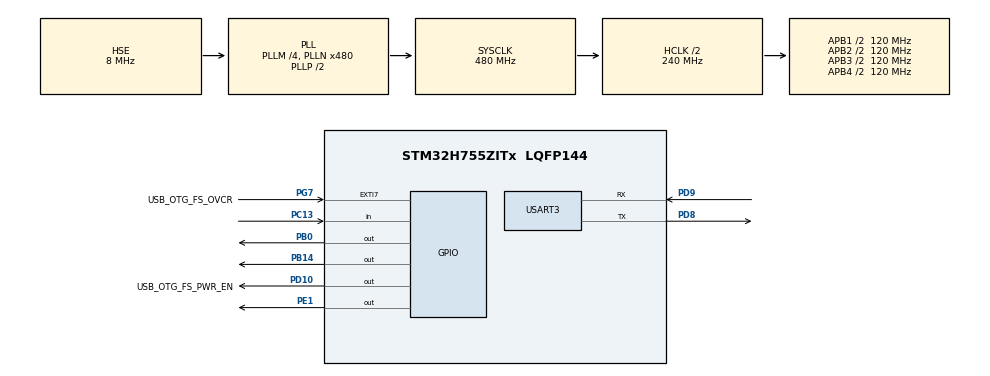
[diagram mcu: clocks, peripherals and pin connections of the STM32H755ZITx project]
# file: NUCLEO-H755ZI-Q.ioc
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CORTEX_M7.CPU_DCache=Enabled
CORTEX_M7.CPU_ICache=Enabled
CortexM4.IPs=FATFS_M4\:I,FREERTOS_M4\:I,IWDG2\:I,RCC,WWDG2\:I,DMA,BDMA,MDMA,NVIC2\:I,ETH,USART3,DEBUG,PDM2PCM_M4\:I,PWR,RESMGR_UTILITY,SYS_M4\:I,USB_DEVICE_M4\:I,USB_HOST_M4\:I,CORTEX_M4\:I,GPIO,OPENAMP_M4\:I,VREFBUF,NUCLEO-H755ZI-Q
CortexM7.IPs=FATFS_M7\:I,FREERTOS_M7\:I,IWDG1\:I,RCC\:I,WWDG1\:I,DMA\:I,BDMA\:I,MDMA\:I,NVIC1\:I,ETH\:I,USART3\:I,USB_OTG_FS\:I,SYS\:I,CORTEX_M7\:I,DEBUG\:I,PDM2PCM_M7\:I,PWR\:I,RESMGR_UTILITY\:I,USB_DEVICE_M7\:I,USB_HOST_M7\:I,GPIO\:I,OPENAMP_M7\:I,VREFBUF\:I,NUCLEO-H755ZI-Q\:I,STMicroelectronics.X-CUBE-AI.10.2.0_M7\:I,TIM16\:I
Mcu.Family=STM32H7
Mcu.Name=STM32H755ZITx
Mcu.Package=LQFP144
NVIC1.PriorityGroup=NVIC_PRIORITYGROUP_4
NVIC2.PriorityGroup=NVIC_PRIORITYGROUP_4
PA1.PinAttribute=CortexM7
PA1.Signal=ETH_REF_CLK
PA11.PinAttribute=CortexM7
PA11.Signal=USB_OTG_FS_DM
PA12.PinAttribute=CortexM7
PA12.Signal=USB_OTG_FS_DP
PA2.PinAttribute=CortexM7
PA2.Signal=ETH_MDIO
PA7.PinAttribute=CortexM7
PA7.Signal=ETH_CRS_DV
PA8.PinAttribute=CortexM7
PA8.Signal=USB_OTG_FS_SOF
PA9.PinAttribute=CortexM7
PA9.Signal=USB_OTG_FS_VBUS
PB0.PinAttribute=Free
PB0.Signal=GPIO_Output
PB13.PinAttribute=CortexM7
PB13.Signal=ETH_TXD1
PB14.PinAttribute=Free
PB14.Signal=GPIO_Output
PC1.PinAttribute=CortexM7
PC1.Signal=ETH_MDC
PC13.PinAttribute=Free
PC13.Signal=GPIO_Input
PC14-OSC32_IN\ (OSC32_IN).PinAttribute=Free
PC14-OSC32_IN\ (OSC32_IN).Signal=RCC_OSC32_IN
PC15-OSC32_OUT\ (OSC32_OUT).PinAttribute=Free
PC15-OSC32_OUT\ (OSC32_OUT).Signal=RCC_OSC32_OUT
PC4.PinAttribute=CortexM7
PC4.Signal=ETH_RXD0
PC5.PinAttribute=CortexM7
PC5.Signal=ETH_RXD1
PD10.GPIO_Label=USB_OTG_FS_PWR_EN
PD10.PinAttribute=Free
PD10.Signal=GPIO_Output
PD8.Mode=Asynchronous
PD8.PinAttribute=CortexM7
PD8.Signal=USART3_TX
PD9.GPIO_PuPd=GPIO_PULLUP
PD9.Mode=Asynchronous
PD9.PinAttribute=CortexM7
PD9.Signal=USART3_RX
PE1.PinAttribute=Free
PE1.Signal=GPIO_Output
PG11.PinAttribute=CortexM7
PG11.Signal=ETH_TX_EN
PG13.PinAttribute=CortexM7
PG13.Signal=ETH_TXD0
PG7.GPIO_Label=USB_OTG_FS_OVCR
PG7.PinAttribute=Free
PG7.Signal=GPXTI7
PH0-OSC_IN\ (PH0).Mode=HSE-External-Clock-Source
PH0-OSC_IN\ (PH0).PinAttribute=Free
PH0-OSC_IN\ (PH0).Signal=RCC_OSC_IN
PH1-OSC_OUT\ (PH1).PinAttribute=Free
PH1-OSC_OUT\ (PH1).Signal=RCC_OSC_OUT
ProjectManager.HeapSize=M4-0x200,M7-0x800
ProjectManager.StackSize=M4-0x400,M7-0x800
ProjectManager.TargetToolchain=STM32CubeIDE
RCC.ADCFreq_Value=16125000
RCC.APB1CLKDivider=RCC_HCLK_DIV4
RCC.APB1Freq_Value=120000000
RCC.APB2CLKDivider=RCC_HCLK_DIV2
RCC.APB2Freq_Value=120000000
RCC.APB3Freq_Value=120000000
RCC.APB4Freq_Value=120000000
RCC.CortexFreq_Value=480000000
RCC.D1PPRE=RCC_APB3_DIV2
RCC.D2PPRE1=RCC_APB1_DIV2
RCC.D2PPRE2=RCC_APB2_DIV2
RCC.D3PPRE=RCC_APB4_DIV2
RCC.DIVM1=4
RCC.DIVM3=4
RCC.DIVN1=480
RCC.DIVN3=480
RCC.DIVQ1=20
RCC.DIVQ3=8
RCC.FLatency=FLASH_LATENCY_4
RCC.HCLKFreq_Value=240000000
RCC.HPRE=RCC_HCLK_DIV2
RCC.HSE_VALUE=8000000
RCC.PLL2FRACN=0
RCC.PLL3FRACN=0
RCC.PLLFRACN=0
RCC.PLLM=25
RCC.PLLMUL=RCC_PLL_MUL9
RCC.PLLN=432
RCC.PLLQ=9
RCC.PLLSourceVirtual=RCC_PLLSOURCE_HSE
RCC.PRESCALERUSB=RCC_USBCLKSOURCE_PLL_DIV1_5
RCC.PWR_Regulator_Voltage_Scale=PWR_REGULATOR_VOLTAGE_SCALE0
RCC.SYSCLKFreq_VALUE=480000000
RCC.SYSCLKSource=RCC_SYSCLKSOURCE_PLLCLK
RCC.SYSCLKSourceVirtual=RCC_SYSCLKSOURCE_PLLCLK
RCC.USBFreq_Value=48000000
STMicroelectronics.X-CUBE-AI.10.2.0_M7.ActivationBufferSizeList=6008
STMicroelectronics.X-CUBE-AI.10.2.0_M7.ActivationBuffers=(ai_handle) 0x20000000
STMicroelectronics.X-CUBE-AI.10.2.0_M7.ActivationPragmas=AI_DTCMRAM
STMicroelectronics.X-CUBE-AI.10.2.0_M7.ApplicationCcDeviceJjApplication=SystemPerformance
STMicroelectronics.X-CUBE-AI.10.2.0_M7.BSP.number=1
STMicroelectronics.X-CUBE-AI.10.2.0_M7.HeapSize=0x800
STMicroelectronics.X-CUBE-AI.10.2.0_M7.InternalRamActivationBufferMaxSize=AI_SINE_MODEL_DATA_ACTIVATIONS_SIZE
STMicroelectronics.X-CUBE-AI.10.2.0_M7.LatestDirectoryUsed-3aca56d5d3dcc620b772663d52efb366092c688ae6d22954f454590b10111fd2=/Users/vigneshn/ECG_MODELS/Ecg_keras/ecg keras model
STMicroelectronics.X-CUBE-AI.10.2.0_M7.MaximumNumberOfInputLayer=1
STMicroelectronics.X-CUBE-AI.10.2.0_M7.MaximumNumberOfOutputLayer=1
STMicroelectronics.X-CUBE-AI.10.2.0_M7.MaximumSizeOfInputLayer=AI_SINE_MODEL_IN_1_SIZE_BYTES
STMicroelectronics.X-CUBE-AI.10.2.0_M7.MaximumSizeOfOutputLayer=AI_SINE_MODEL_OUT_1_SIZE_BYTES
STMicroelectronics.X-CUBE-AI.10.2.0_M7.ModelActualCompression-3aca56d5d3dcc620b772663d52efb366092c688ae6d22954f454590b10111fd2=0.0
STMicroelectronics.X-CUBE-AI.10.2.0_M7.ModelCompression-3aca56d5d3dcc620b772663d52efb366092c688ae6d22954f454590b10111fd2=None
STMicroelectronics.X-CUBE-AI.10.2.0_M7.ModelFlashOccupation-3aca56d5d3dcc620b772663d52efb366092c688ae6d22954f454590b10111fd2=20268
STMicroelectronics.X-CUBE-AI.10.2.0_M7.ModelHashList=3aca56d5d3dcc620b772663d52efb366092c688ae6d22954f454590b10111fd2
STMicroelectronics.X-CUBE-AI.10.2.0_M7.ModelKind-3aca56d5d3dcc620b772663d52efb366092c688ae6d22954f454590b10111fd2=KERAS
STMicroelectronics.X-CUBE-AI.10.2.0_M7.ModelMacc-3aca56d5d3dcc620b772663d52efb366092c688ae6d22954f454590b10111fd2=46824
STMicroelectronics.X-CUBE-AI.10.2.0_M7.ModelName-3aca56d5d3dcc620b772663d52efb366092c688ae6d22954f454590b10111fd2=sine_model
STMicroelectronics.X-CUBE-AI.10.2.0_M7.ModelNameList=sine_model
STMicroelectronics.X-CUBE-AI.10.2.0_M7.ModelRamOccupation-3aca56d5d3dcc620b772663d52efb366092c688ae6d22954f454590b10111fd2=6008
STMicroelectronics.X-CUBE-AI.10.2.0_M7.ModelStructureFile-3aca56d5d3dcc620b772663d52efb366092c688ae6d22954f454590b10111fd2=/Users/vigneshn/ECG_MODELS/Ecg_keras/ecg keras model/ecg_tiny_model.keras
STMicroelectronics.X-CUBE-AI.10.2.0_M7.ModelType-3aca56d5d3dcc620b772663d52efb366092c688ae6d22954f454590b10111fd2=STM32Cube.AI MCU runtime
STMicroelectronics.X-CUBE-AI.10.2.0_M7.ReadyForCodeGeneration=true
STMicroelectronics.X-CUBE-AI.10.2.0_M7.StackSize=0x800
STMicroelectronics.X-CUBE-AI.10.2.0_M7.WorkingBufferStartAddrList=0xFFFFFFFF
STMicroelectronics.X-CUBE-AI.10.2.0_M7.XAaCUBEAaAICcArtificialOoIntelligenceJjCore=true
STMicroelectronics.X-CUBE-AI.10.2.0_M7.copyWeightToRam=false
STMicroelectronics.X-CUBE-AI.10.2.0_M7.copyWeightToRam-3aca56d5d3dcc620b772663d52efb366092c688ae6d22954f454590b10111fd2=false
STMicroelectronics.X-CUBE-AI.10.2.0_M7.customLayerConfigEnabled=false
STMicroelectronics.X-CUBE-AI.10.2.0_M7.customLayerConfigEnabled-3aca56d5d3dcc620b772663d52efb366092c688ae6d22954f454590b10111fd2=false
STMicroelectronics.X-CUBE-AI.10.2.0_M7.memoryPool0driver-3aca56d5d3dcc620b772663d52efb366092c688ae6d22954f454590b10111fd2=DTCMRAM
STMicroelectronics.X-CUBE-AI.10.2.0_M7.memoryPool0id-3aca56d5d3dcc620b772663d52efb366092c688ae6d22954f454590b10111fd2=0
STMicroelectronics.X-CUBE-AI.10.2.0_M7.memoryPool0max-3aca56d5d3dcc620b772663d52efb366092c688ae6d22954f454590b10111fd2=128
STMicroelectronics.X-CUBE-AI.10.2.0_M7.memoryPool0name-3aca56d5d3dcc620b772663d52efb366092c688ae6d22954f454590b10111fd2=POOL_0_DTCMRAM
STMicroelectronics.X-CUBE-AI.10.2.0_M7.memoryPool0size-3aca56d5d3dcc620b772663d52efb366092c688ae6d22954f454590b10111fd2=124
STMicroelectronics.X-CUBE-AI.10.2.0_M7.memoryPool0start-3aca56d5d3dcc620b772663d52efb366092c688ae6d22954f454590b10111fd2=0x20000000
STMicroelectronics.X-CUBE-AI.10.2.0_M7.memoryPool0used-3aca56d5d3dcc620b772663d52efb366092c688ae6d22954f454590b10111fd2=3136.0
STMicroelectronics.X-CUBE-AI.10.2.0_M7.memoryPool1driver-3aca56d5d3dcc620b772663d52efb366092c688ae6d22954f454590b10111fd2=RAM_D1
STMicroelectronics.X-CUBE-AI.10.2.0_M7.memoryPool1id-3aca56d5d3dcc620b772663d52efb366092c688ae6d22954f454590b10111fd2=1
STMicroelectronics.X-CUBE-AI.10.2.0_M7.memoryPool1max-3aca56d5d3dcc620b772663d52efb366092c688ae6d22954f454590b10111fd2=512
STMicroelectronics.X-CUBE-AI.10.2.0_M7.memoryPool1name-3aca56d5d3dcc620b772663d52efb366092c688ae6d22954f454590b10111fd2=POOL_1_RAM_D1
STMicroelectronics.X-CUBE-AI.10.2.0_M7.memoryPool1size-3aca56d5d3dcc620b772663d52efb366092c688ae6d22954f454590b10111fd2=483
STMicroelectronics.X-CUBE-AI.10.2.0_M7.memoryPool1start-3aca56d5d3dcc620b772663d52efb366092c688ae6d22954f454590b10111fd2=0x24000000
STMicroelectronics.X-CUBE-AI.10.2.0_M7.memoryPool1used-3aca56d5d3dcc620b772663d52efb366092c688ae6d22954f454590b10111fd2=0.0
STMicroelectronics.X-CUBE-AI.10.2.0_M7.noOnnxIoTranspose=false
STMicroelectronics.X-CUBE-AI.10.2.0_M7.noOnnxIoTranspose-3aca56d5d3dcc620b772663d52efb366092c688ae6d22954f454590b10111fd2=false
STMicroelectronics.X-CUBE-AI.10.2.0_M7.useInputAllocation=true
STMicroelectronics.X-CUBE-AI.10.2.0_M7.useInputAllocation-3aca56d5d3dcc620b772663d52efb366092c688ae6d22954f454590b10111fd2=false
STMicroelectronics.X-CUBE-AI.10.2.0_M7.useOutputAllocation=true
STMicroelectronics.X-CUBE-AI.10.2.0_M7.useOutputAllocation-3aca56d5d3dcc620b772663d52efb366092c688ae6d22954f454590b10111fd2=false
STMicroelectronics.X-CUBE-AI.10.2.0_M70.BSP.STBoard=false
STMicroelectronics.X-CUBE-AI.10.2.0_M70.BSP.api=Unknown
STMicroelectronics.X-CUBE-AI.10.2.0_M70.BSP.condition=\!SEMDeviceJjApplicationJjApplicationTemplate$context
STMicroelectronics.X-CUBE-AI.10.2.0_M70.BSP.instance=USART3
STMicroelectronics.X-CUBE-AI.10.2.0_M70.BSP.ip=USART
STMicroelectronics.X-CUBE-AI.10.2.0_M70.BSP.mode=Asynchronous
STMicroelectronics.X-CUBE-AI.10.2.0_M70.BSP.name=COM Port
STMicroelectronics.X-CUBE-AI.10.2.0_M70.BSP.solution=USART3
TIM16.Prescaler=80-1
USART3.VirtualMode-Asynchronous=VM_ASYNC
VP_STMicroelectronics.X-CUBE-AI_M7_VS_ArtificialOoIntelligenceJjXAaCUBEAaAI_10.2.0.Mode=ArtificialOoIntelligenceJjXAaCUBEAaAI
VP_STMicroelectronics.X-CUBE-AI_M7_VS_DeviceJjApplication_10.2.0.Mode=DeviceJjApplication
VP_SYS_M4_VS_Systick.Mode=SysTick
VP_TIM16_VS_ClockSourceINT.Mode=Enable_Timer
board=NUCLEO-H755ZI-Q

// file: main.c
/* USER CODE BEGIN Header */
/**
  ******************************************************************************
  * @file           : main.c
  * @brief          : Final clean version for ECG classification.
  ******************************************************************************
  * @attention
  *
  * This code contains a single test case (a Normal Beat) and prints both
  * the prediction and its confidence level to the serial monitor.
  *
  ******************************************************************************
  */
/* USER CODE END Header */
#include "main.h"
#include "app_x-cube-ai.h"
/* USER CODE BEGIN Includes */
#include <stdio.h>
#include <string.h>
#include <math.h>
/* USER CODE END Includes */

/* USER CODE BEGIN PD */
#ifndef HSEM_ID_0
#define HSEM_ID_0 (0U)
#endif

#define WINDOW_LENGTH 180   /*  Must match model input length from training */
/* USER CODE END PD */

TIM_HandleTypeDef htim16;
UART_HandleTypeDef huart3;

/* USER CODE BEGIN PV */
/* Class labels for your 5 ECG categories */
static const char *class_symbol[5] = { "N", "S", "V", "F", "Q" };
static const char *class_name[5] = {
  "Normal Beat",
  "Supraventricular Ectopic Beat",
  "Ventricular Ectopic Beat",
  "Fusion Beat",
  "Unknown / Other"
};
/* USER CODE END PV */

void SystemClock_Config(void);
void MX_GPIO_Init(void);
void MX_TIM16_Init(void);
void MX_USART3_UART_Init(void);

/* USER CODE BEGIN PFP */
void classify_and_print(const float *ecg_window);
void normalize_window(float *window, int length);
extern int ai_run_classification(const float *in_data, float *out_data);
/* USER CODE END PFP */

/* USER CODE BEGIN 0 */
/* Helper function to print to the correct UART */
static void uart_print(const char *msg)
{
  HAL_UART_Transmit(&huart3, (uint8_t*)msg, (uint16_t)strlen(msg), HAL_MAX_DELAY);
}
/* USER CODE END 0 */

int main(void)
{
  /* MCU Configuration--------------------------------------------------------*/
  SCB_EnableICache();
  SCB_EnableDCache();
  HAL_Init();
  SystemClock_Config();

  /* Initialize all configured peripherals */
  MX_GPIO_Init();
  MX_TIM16_Init();
  MX_USART3_UART_Init();

  /* Initialize the AI Engine */
  MX_X_CUBE_AI_Init();

  /* USER CODE BEGIN 2 */
  uart_print("\r\n\r\nSTM32H755ZI-Q ECG Classifier Initialized\r\n");
  uart_print("----------------------------------------\r\n");
  /* USER CODE END 2 */

  /* Infinite loop */
  while (1)
  {

  /* USER CODE BEGIN 3 */

    // --- Define a single input signal for classification ---
    // This is a known "Ventricular Ectopic Beat" from sample #527 of 231.csv file in MIT-BIH dataset.
    static const float sample_ecg_input[WINDOW_LENGTH] = {
      988.0f, 988.0f, 988.0f, 989.0f, 990.0f, 992.0f, 993.0f, 994.0f,
      996.0f, 997.0f, 998.0f, 999.0f, 1000.0f, 1000.0f, 1001.0f, 1001.0f,
      1001.0f, 1001.0f, 1002.0f, 1002.0f, 1002.0f, 1002.0f, 1002.0f, 1002.0f,
      1002.0f, 1002.0f, 1002.0f, 1002.0f, 1002.0f, 1002.0f, 1001.0f, 1001.0f,
      1000.0f, 999.0f, 997.0f, 996.0f, 995.0f, 994.0f, 993.0f, 993.0f,
      992.0f, 991.0f, 990.0f, 990.0f, 990.0f, 990.0f, 990.0f, 991.0f,
      991.0f, 992.0f, 992.0f, 992.0f, 993.0f, 994.0f, 994.0f, 994.0f,
      994.0f, 994.0f, 994.0f, 994.0f, 994.0f, 994.0f, 994.0f, 994.0f,
      994.0f, 994.0f, 994.0f, 995.0f, 996.0f, 997.0f, 998.0f, 999.0f,
      1000.0f, 1001.0f, 1002.0f, 1002.0f, 1003.0f, 1004.0f, 1004.0f, 1005.0f,
      1006.0f, 1007.0f, 1009.0f, 1010.0f, 1013.0f, 1019.0f, 1028.0f, 1042.0f,
      1059.0f, 1073.0f, 1080.0f, 1077.0f, 1063.0f, 1042.0f, 1018.0f, 996.0f,
      979.0f, 967.0f, 959.0f, 954.0f, 951.0f, 950.0f, 949.0f, 949.0f,
      950.0f, 952.0f, 953.0f, 955.0f, 956.0f, 958.0f, 959.0f, 960.0f,
      962.0f, 963.0f, 964.0f, 965.0f, 966.0f, 967.0f, 967.0f, 967.0f,
      967.0f, 967.0f, 968.0f, 968.0f, 968.0f, 968.0f, 968.0f, 968.0f,
      968.0f, 968.0f, 968.0f, 968.0f, 968.0f, 968.0f, 968.0f, 968.0f,
      968.0f, 968.0f, 968.0f, 969.0f, 969.0f, 970.0f, 970.0f, 970.0f,
      970.0f, 971.0f, 972.0f, 972.0f, 972.0f, 973.0f, 974.0f, 974.0f,
      974.0f, 974.0f, 974.0f, 974.0f, 974.0f, 974.0f, 974.0f, 974.0f,
      974.0f, 974.0f, 974.0f, 974.0f, 974.0f, 974.0f, 974.0f, 974.0f,
      974.0f, 974.0f, 974.0f, 974.0f, 974.0f, 974.0f, 974.0f, 974.0f
    };

    // Classify the input data and print the results.
    uart_print("\r\n--- Classifying Sample ECG Beat ---\r\n");
    classify_and_print(sample_ecg_input);

    // Wait for 5 seconds
    HAL_Delay(5000);

  }
  /* USER CODE END 3 */
}

/**
  * @brief  Normalizes an ECG window (makes its mean=0 and standard deviation=1).
  */
void normalize_window(float *window, int length)
{
  if (length <= 1) return;

  double sum = 0.0;
  for (int i = 0; i < length; ++i) {
    sum += window[i];
  }
  float mean = (float)(sum / length);

  double sum_sq_diff = 0.0;
  for (int i = 0; i < length; ++i) {
    float diff = window[i] - mean;
    sum_sq_diff += diff * diff;
  }
  float std_dev = (float)sqrt(sum_sq_diff / length) + 1e-6f;

  for (int i = 0; i < length; ++i) {
    window[i] = (window[i] - mean) / std_dev;
  }
}

/**
  * @brief  The core classification and printing logic.
  */
void classify_and_print(const float *ecg_window)
{
  char buf[128];
  int class_id = -1;
  static float ai_output_buffer[5];
  static float processed_input[WINDOW_LENGTH];

  // Step 1: Copy input data to a modifiable buffer
  memcpy(processed_input, ecg_window, WINDOW_LENGTH * sizeof(float));

  // Step 2: Pre-process the data by normalizing it
  normalize_window(processed_input, WINDOW_LENGTH);

  // Step 3: Run inference
  class_id = ai_run_classification(processed_input, ai_output_buffer);

  // Step 4: Print the results
  if (class_id >= 0 && class_id < 5) {
    // Convert confidence (float) to percentage (integer) for printing
    int confidence_percent = (int)(ai_output_buffer[class_id] * 100);

    snprintf(buf, sizeof(buf), "Prediction: %s (%s) | Confidence: %d%%\r\n",
             class_name[class_id], class_symbol[class_id], confidence_percent);
  } else {
    snprintf(buf, sizeof(buf), "Error: Inference failed or returned an invalid class ID (%d).\r\n", class_id);
  }
  uart_print(buf);
}

void SystemClock_Config(void)
{
  RCC_OscInitTypeDef RCC_OscInitStruct = {0};
  RCC_ClkInitTypeDef RCC_ClkInitStruct = {0};
  HAL_PWREx_ConfigSupply(PWR_LDO_SUPPLY);
  __HAL_PWR_VOLTAGESCALING_CONFIG(PWR_REGULATOR_VOLTAGE_SCALE0);
  while(!__HAL_PWR_GET_FLAG(PWR_FLAG_VOSRDY)) {}
  RCC_OscInitStruct.OscillatorType = RCC_OSCILLATORTYPE_HSE;
  RCC_OscInitStruct.HSEState = RCC_HSE_BYPASS;
  RCC_OscInitStruct.PLL.PLLState = RCC_PLL_ON;
  RCC_OscInitStruct.PLL.PLLSource = RCC_PLLSOURCE_HSE;
  RCC_OscInitStruct.PLL.PLLM = 4;
  RCC_OscInitStruct.PLL.PLLN = 480;
  RCC_OscInitStruct.PLL.PLLP = 2;
  RCC_OscInitStruct.PLL.PLLQ = 20;
  RCC_OscInitStruct.PLL.PLLR = 2;
  RCC_OscInitStruct.PLL.PLLRGE = RCC_PLL1VCIRANGE_1;
  RCC_OscInitStruct.PLL.PLLVCOSEL = RCC_PLL1VCOWIDE;
  RCC_OscInitStruct.PLL.PLLFRACN = 0;
  if (HAL_RCC_OscConfig(&RCC_OscInitStruct) != HAL_OK) { Error_Handler(); } // Corrected line
  RCC_ClkInitStruct.ClockType = RCC_CLOCKTYPE_HCLK|RCC_CLOCKTYPE_SYSCLK
                              |RCC_CLOCKTYPE_PCLK1|RCC_CLOCKTYPE_PCLK2
                              |RCC_CLOCKTYPE_D3PCLK1|RCC_CLOCKTYPE_D1PCLK1;
  RCC_ClkInitStruct.SYSCLKSource = RCC_SYSCLKSOURCE_PLLCLK;
  RCC_ClkInitStruct.SYSCLKDivider = RCC_SYSCLK_DIV1;
  RCC_ClkInitStruct.AHBCLKDivider = RCC_HCLK_DIV2;
  RCC_ClkInitStruct.APB3CLKDivider = RCC_APB3_DIV2;
  RCC_ClkInitStruct.APB1CLKDivider = RCC_APB1_DIV2;
  RCC_ClkInitStruct.APB2CLKDivider = RCC_APB2_DIV2;
  RCC_ClkInitStruct.APB4CLKDivider = RCC_APB4_DIV2;
  if (HAL_RCC_ClockConfig(&RCC_ClkInitStruct, FLASH_LATENCY_4) != HAL_OK) { Error_Handler(); }
}

void MX_TIM16_Init(void)
{
  htim16.Instance = TIM16;
  htim16.Init.Prescaler = 480-1;
  htim16.Init.CounterMode = TIM_COUNTERMODE_UP;
  htim16.Init.Period = 65535;
  htim16.Init.ClockDivision = TIM_CLOCKDIVISION_DIV1;
  htim16.Init.RepetitionCounter = 0;
  htim16.Init.AutoReloadPreload = TIM_AUTORELOAD_PRELOAD_DISABLE;
  if (HAL_TIM_Base_Init(&htim16) != HAL_OK) { Error_Handler(); }
}

void MX_USART3_UART_Init(void)
{
  huart3.Instance = USART3;
  huart3.Init.BaudRate = 115200;
  huart3.Init.WordLength = UART_WORDLENGTH_8B;
  huart3.Init.StopBits = UART_STOPBITS_1;
  huart3.Init.Parity = UART_PARITY_NONE;
  huart3.Init.Mode = UART_MODE_TX_RX;
  huart3.Init.HwFlowCtl = UART_HWCONTROL_NONE;
  huart3.Init.OverSampling = UART_OVERSAMPLING_16;
  huart3.Init.OneBitSampling = UART_ONE_BIT_SAMPLE_DISABLE;
  huart3.Init.ClockPrescaler = UART_PRESCALER_DIV1;
  huart3.AdvancedInit.AdvFeatureInit = UART_ADVFEATURE_NO_INIT;
  if (HAL_UART_Init(&huart3) != HAL_OK) { Error_Handler(); }
  if (HAL_UARTEx_SetTxFifoThreshold(&huart3, UART_TXFIFO_THRESHOLD_1_8) != HAL_OK) { Error_Handler(); }
  if (HAL_UARTEx_SetRxFifoThreshold(&huart3, UART_RXFIFO_THRESHOLD_1_8) != HAL_OK) { Error_Handler(); }
  if (HAL_UARTEx_DisableFifoMode(&huart3) != HAL_OK) { Error_Handler(); }
}

void MX_GPIO_Init(void)
{
  __HAL_RCC_GPIOC_CLK_ENABLE();
  __HAL_RCC_GPIOA_CLK_ENABLE();
  __HAL_RCC_GPIOB_CLK_ENABLE();
  __HAL_RCC_GPIOD_CLK_ENABLE();
}

/* USER CODE BEGIN 4 */

#ifdef __GNUC__
#define PUTCHAR_PROTOTYPE int __io_putchar(int ch)
#else
#define PUTCHAR_PROTOTYPE int fputc(int ch, FILE *f)
#endif /* __GNUC__ */

/**
  * @brief  Retargets the C library printf function to the USART.
  */
PUTCHAR_PROTOTYPE
{
  HAL_UART_Transmit(&huart3, (uint8_t *)&ch, 1, HAL_MAX_DELAY);
  return ch;
}

/* USER CODE END 4 */

void Error_Handler(void)
{
  __disable_irq();
  while (1) {}
}
